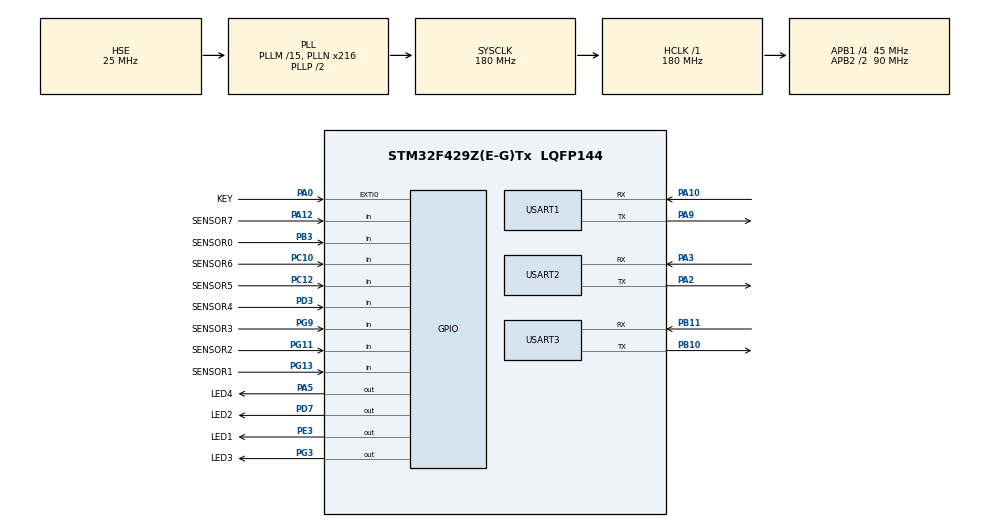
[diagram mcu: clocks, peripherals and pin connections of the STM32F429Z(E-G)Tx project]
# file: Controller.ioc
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Mcu.Family=STM32F4
Mcu.Name=STM32F429Z(E-G)Tx
Mcu.Package=LQFP144
NVIC.EXTI0_IRQn=true\:2\:0\:true\:false\:true\:true\:true\:true
NVIC.PriorityGroup=NVIC_PRIORITYGROUP_4
NVIC.TIM2_IRQn=true\:1\:0\:true\:false\:true\:true\:true\:true
NVIC.USART1_IRQn=true\:1\:0\:true\:false\:true\:true\:true\:true
NVIC.USART3_IRQn=true\:1\:0\:true\:false\:true\:true\:true\:true
PA0/WKUP.GPIO_Label=KEY
PA0/WKUP.GPIO_ModeDefaultEXTI=GPIO_MODE_IT_FALLING
PA0/WKUP.Signal=GPXTI0
PA10.Mode=Asynchronous
PA10.Signal=USART1_RX
PA12.GPIO_Label=SENSOR7
PA12.Signal=GPIO_Input
PA13.Mode=Serial_Wire
PA13.Signal=SYS_JTMS-SWDIO
PA14.Mode=Serial_Wire
PA14.Signal=SYS_JTCK-SWCLK
PA2.Mode=Asynchronous
PA2.Signal=USART2_TX
PA3.Mode=Asynchronous
PA3.Signal=USART2_RX
PA5.GPIO_Label=LED4
PA5.GPIO_Speed=GPIO_SPEED_FREQ_VERY_HIGH
PA5.PinState=GPIO_PIN_SET
PA5.Signal=GPIO_Output
PA9.Mode=Asynchronous
PA9.Signal=USART1_TX
PB10.Mode=Asynchronous
PB10.Signal=USART3_TX
PB11.Mode=Asynchronous
PB11.Signal=USART3_RX
PB3.GPIO_Label=SENSOR0
PB3.Signal=GPIO_Input
PC10.GPIO_Label=SENSOR6
PC10.Signal=GPIO_Input
PC12.GPIO_Label=SENSOR5
PC12.Signal=GPIO_Input
PD3.GPIO_Label=SENSOR4
PD3.Signal=GPIO_Input
PD7.GPIO_Label=LED2
PD7.GPIO_Speed=GPIO_SPEED_FREQ_VERY_HIGH
PD7.PinState=GPIO_PIN_SET
PD7.Signal=GPIO_Output
PE3.GPIO_Label=LED1
PE3.GPIO_Speed=GPIO_SPEED_FREQ_VERY_HIGH
PE3.PinState=GPIO_PIN_SET
PE3.Signal=GPIO_Output
PG11.GPIO_Label=SENSOR2
PG11.Signal=GPIO_Input
PG13.GPIO_Label=SENSOR1
PG13.Signal=GPIO_Input
PG3.GPIO_Label=LED3
PG3.GPIO_Speed=GPIO_SPEED_FREQ_VERY_HIGH
PG3.PinState=GPIO_PIN_SET
PG3.Signal=GPIO_Output
PG9.GPIO_Label=SENSOR3
PG9.Signal=GPIO_Input
PH0/OSC_IN.Mode=HSE-External-Oscillator
PH0/OSC_IN.Signal=RCC_OSC_IN
PH1/OSC_OUT.Mode=HSE-External-Oscillator
PH1/OSC_OUT.Signal=RCC_OSC_OUT
ProjectManager.HeapSize=0x200
ProjectManager.StackSize=0x400
ProjectManager.TargetToolchain=MDK-ARM V5.32
RCC.48MHZClocksFreq_Value=90000000
RCC.AHBFreq_Value=180000000
RCC.APB1CLKDivider=RCC_HCLK_DIV4
RCC.APB1Freq_Value=45000000
RCC.APB1TimFreq_Value=90000000
RCC.APB2CLKDivider=RCC_HCLK_DIV2
RCC.APB2Freq_Value=90000000
RCC.APB2TimFreq_Value=180000000
RCC.CortexFreq_Value=180000000
RCC.HCLKFreq_Value=180000000
RCC.HSE_VALUE=25000000
RCC.HSI_VALUE=16000000
RCC.LSE_VALUE=32768
RCC.PLLM=15
RCC.PLLN=216
RCC.PLLSourceVirtual=RCC_PLLSOURCE_HSE
RCC.SYSCLKFreq_VALUE=180000000
RCC.SYSCLKSource=RCC_SYSCLKSOURCE_PLLCLK
RCC.VCOOutputFreq_Value=360000000
TIM2.Period=999
TIM2.Prescaler=89
USART1.VirtualMode=VM_ASYNC
USART2.VirtualMode=VM_ASYNC
USART3.VirtualMode=VM_ASYNC
VP_TIM2_VS_ClockSourceINT.Mode=Internal
board=custom

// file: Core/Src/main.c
/* USER CODE BEGIN Header */
/**
  ******************************************************************************
  * @file           : main.c
  * @brief          : Main program body
  ******************************************************************************
  * @attention
  *
  * Copyright (c) 2024 STMicroelectronics.
  * All rights reserved.
  *
  * This software is licensed under terms that can be found in the LICENSE file
  * in the root directory of this software component.
  * If no LICENSE file comes with this software, it is provided AS-IS.
  *
  ******************************************************************************
  */
/* USER CODE END Header */
#include "main.h"
#include "tim.h"
#include "usart.h"
#include "gpio.h"

/* USER CODE BEGIN Includes */
#include "stdio.h"
#include "sensors.h"
#include "timer.h"
#include "pid_app.h"
/* USER CODE END Includes */

/* USER CODE BEGIN PV */
uint8_t recData;

/* USER CODE END PV */

void SystemClock_Config(void);

int main(void)
{

  /* MCU Configuration--------------------------------------------------------*/

  /* Reset of all peripherals, Initializes the Flash interface and the Systick. */
  HAL_Init();

  /* Configure the system clock */
  SystemClock_Config();

  /* Initialize all configured peripherals */
  MX_GPIO_Init();
  MX_TIM2_Init();
  MX_USART2_UART_Init();
  MX_USART3_UART_Init();
  MX_USART1_UART_Init();
  /* USER CODE BEGIN 2 */
  HAL_TIM_Base_Start_IT(&htim2);

  HAL_UART_Receive_IT(&huart3, &recData, 1);

  soft_timer_init(SOFT_TIMER0, 1000);
  soft_timer_init(SOFT_TIMER1, 20);

  Emm_V5_Vel_Control(0, 0, 0, 0, false, &huart2);
  /* USER CODE END 2 */

  /* Infinite loop */
  /* USER CODE BEGIN WHILE */
  while (1)
  {

    if(soft_timer_is_timeout(SOFT_TIMER0))
    {
      HAL_GPIO_TogglePin(LED1_GPIO_Port, LED1_Pin);
    }
    if(soft_timer_is_timeout(SOFT_TIMER1))
    {
      pid_application();
      // pid_uart_test();
    }

    /* USER CODE END WHILE */

  }
}

void SystemClock_Config(void)
{
  RCC_OscInitTypeDef RCC_OscInitStruct = {0};
  RCC_ClkInitTypeDef RCC_ClkInitStruct = {0};

  /** Configure the main internal regulator output voltage
  */
  __HAL_RCC_PWR_CLK_ENABLE();
  __HAL_PWR_VOLTAGESCALING_CONFIG(PWR_REGULATOR_VOLTAGE_SCALE1);

  /** Initializes the RCC Oscillators according to the specified parameters
  * in the RCC_OscInitTypeDef structure.
  */
  RCC_OscInitStruct.OscillatorType = RCC_OSCILLATORTYPE_HSE;
  RCC_OscInitStruct.HSEState = RCC_HSE_ON;
  RCC_OscInitStruct.PLL.PLLState = RCC_PLL_ON;
  RCC_OscInitStruct.PLL.PLLSource = RCC_PLLSOURCE_HSE;
  RCC_OscInitStruct.PLL.PLLM = 15;
  RCC_OscInitStruct.PLL.PLLN = 216;
  RCC_OscInitStruct.PLL.PLLP = RCC_PLLP_DIV2;
  RCC_OscInitStruct.PLL.PLLQ = 4;
  if (HAL_RCC_OscConfig(&RCC_OscInitStruct) != HAL_OK)
  {
    Error_Handler();
  }

  /** Activate the Over-Drive mode
  */
  if (HAL_PWREx_EnableOverDrive() != HAL_OK)
  {
    Error_Handler();
  }

  /** Initializes the CPU, AHB and APB buses clocks
  */
  RCC_ClkInitStruct.ClockType = RCC_CLOCKTYPE_HCLK|RCC_CLOCKTYPE_SYSCLK
                              |RCC_CLOCKTYPE_PCLK1|RCC_CLOCKTYPE_PCLK2;
  RCC_ClkInitStruct.SYSCLKSource = RCC_SYSCLKSOURCE_PLLCLK;
  RCC_ClkInitStruct.AHBCLKDivider = RCC_SYSCLK_DIV1;
  RCC_ClkInitStruct.APB1CLKDivider = RCC_HCLK_DIV4;
  RCC_ClkInitStruct.APB2CLKDivider = RCC_HCLK_DIV2;

  if (HAL_RCC_ClockConfig(&RCC_ClkInitStruct, FLASH_LATENCY_5) != HAL_OK)
  {
    Error_Handler();
  }
}

/* USER CODE BEGIN 4 */

int fputc(int ch, FILE *f)
{
  uint8_t temp = ch;
  HAL_UART_Transmit(&huart1, &temp, 1, 0xFFFF);
  return ch;
}

/* USER CODE END 4 */

void Error_Handler(void)
{
  __disable_irq();
  while (1)
  {
  }
}
